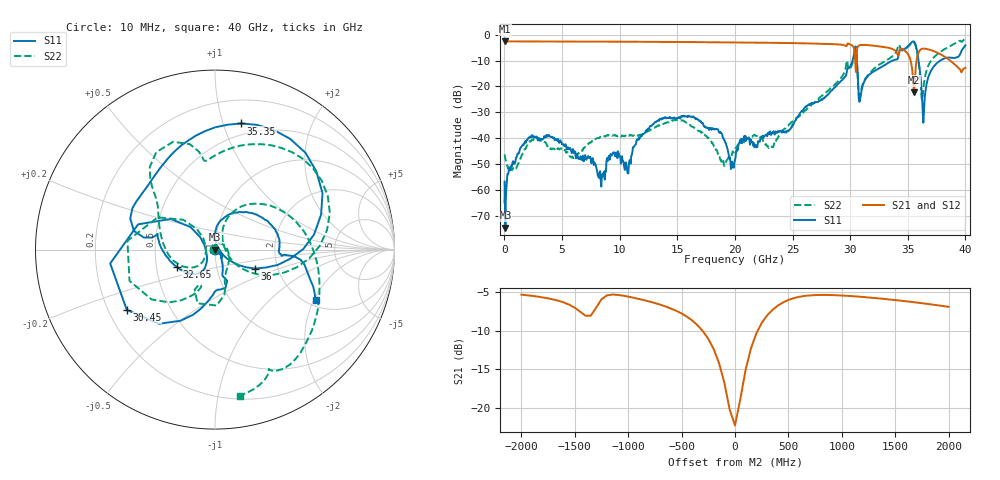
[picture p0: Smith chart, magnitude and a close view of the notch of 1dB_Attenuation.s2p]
!Mini-Circuits Laboratory
!S-Parameters
!Type: ATTENUATOR - Fixed
!Model: BW-S3-2W263A+
!Run / Lot / Date Code: YE0115 / QN2206359 / N/A
!Fixture: N/A
!Network Analyzer: PNA N5224A;  Serial number: 76159
!Date: 4/6/2022 at 2:28:03 PM
!S/N: Unit# 1 (U1_25C)
!Test Conditions: Z:50 OHM System, INPUT POWER: 0dBm, TEMP: 25°C
!Tested with: 2 port calibartion with ECal. De-embedded F/F adapter on port 1.
# Hz  S  dB  R  50
!Frequency  S11 dB  S11 Deg  S21 dB  S21 Deg  S12 dB  S12 Deg  S22 dB  S22 Deg
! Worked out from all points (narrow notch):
!   808 points, 10 MHz to 40 GHz, reference 50 ohm
!   highest |S21| = -2.55 dB at 10 MHz (marker M1); lowest = -22.3 dB at 35.55 GHz (marker M2)
!   notch at M2: 19.3 dB deep, 337 MHz wide at half that depth
!   lowest |S11| = -74.6 dB at 80 MHz (marker M3), VSWR 1.00, Z = 50 + j0.0102 ohm
!   |S11| at or under -10 dB: start of sweep to 30.21 GHz; 30.59 GHz to 33.68 GHz (3.082 GHz wide, 9.59 % of centre); 35.94 GHz to 37.82 GHz (1.883 GHz wide, 5.11 % of centre)
!   |S22| runs from -52.4 to -1.7 dB; largest |S21 - S12| = 0.00072
!   S11 on the Smith chart (normalised r, x): 10 MHz: 1.00, -0.00; 30.45 GHz: 0.28, -0.29; 32.65 GHz: 0.64, -0.13; 35.35 GHz: 0.40, +1.15; 36 GHz: 1.53, -0.34; 40 GHz: 2.25, -2.06
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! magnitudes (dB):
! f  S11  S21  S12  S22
! 10 MHz  -56.8  -2.5  -2.5  -46.3
! 80 MHz  -74.6  -2.6  -2.6  -48.1
! 450 MHz  -51.7  -2.6  -2.6  -50.8
! 2.2 GHz  -39.5  -2.6  -2.6  -41.2
! 6.7 GHz  -48.5  -2.6  -2.6  -44.7
! 10.6 GHz  -51.0  -2.7  -2.7  -38.9
! 13.35 GHz  -33.1  -2.7  -2.7  -35.0
! 16.55 GHz  -32.4  -2.8  -2.8  -36.4
! 18.95 GHz  -39.9  -2.9  -2.9  -49.0
! 20.05 GHz  -47.4  -2.9  -2.9  -43.8
! 23.15 GHz  -38.7  -3.1  -3.1  -43.2
! 26.7 GHz  -26.6  -3.4  -3.4  -26.8
! 30.45 GHz  -4.5  -11.2  -11.2  -5.9
! 30.9 GHz  -23.9  -4.0  -4.0  -22.8
! 32.65 GHz  -12.7  -4.5  -4.5  -11.3
! 33.35 GHz  -10.7  -5.1  -5.1  -9.4
! 35.35 GHz  -2.9  -12.4  -12.4  -3.2
! 35.55 GHz  -2.6  -22.3  -22.3  -3.2
! 36 GHz  -12.1  -6.3  -6.3  -12.6
! 36.4 GHz  -29.9  -5.4  -5.4  -18.9
! 37.25 GHz  -12.3  -6.3  -6.3  -8.8
! 40 GHz  -4.1  -12.7  -12.7  -1.7
